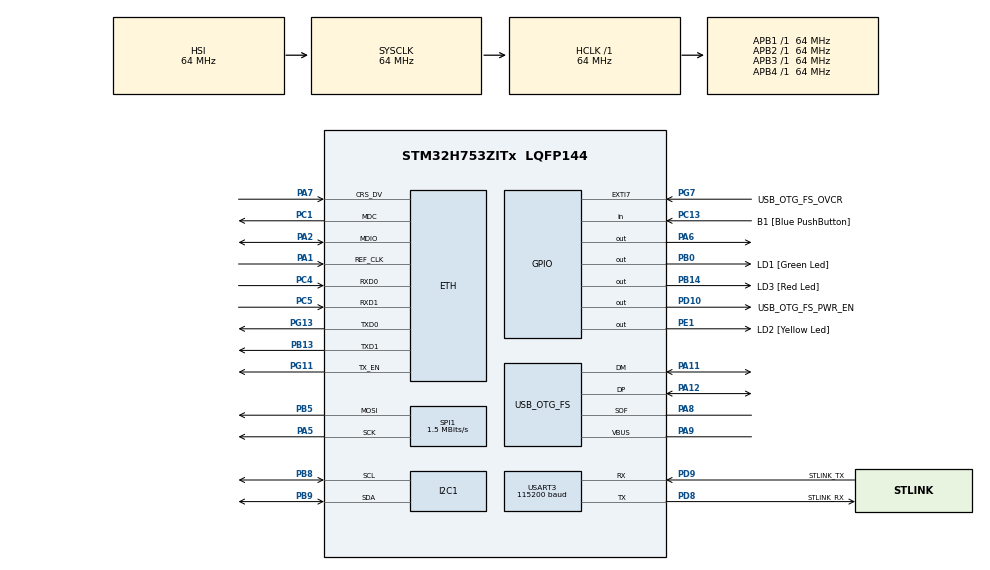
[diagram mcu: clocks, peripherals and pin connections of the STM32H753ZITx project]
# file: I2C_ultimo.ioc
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CORTEX_M7.CPU_DCache=Disabled
CORTEX_M7.CPU_ICache=Disabled
CORTEX_M7.MPU_Control=__NULL
Dma.I2C1_RX.0.Direction=DMA_PERIPH_TO_MEMORY
Dma.I2C1_RX.0.EventEnable=DISABLE
Dma.I2C1_RX.0.FIFOMode=DMA_FIFOMODE_DISABLE
Dma.I2C1_RX.0.Instance=DMA1_Stream0
Dma.I2C1_RX.0.MemDataAlignment=DMA_MDATAALIGN_BYTE
Dma.I2C1_RX.0.MemInc=DMA_MINC_ENABLE
Dma.I2C1_RX.0.Mode=DMA_NORMAL
Dma.I2C1_RX.0.PeriphDataAlignment=DMA_PDATAALIGN_BYTE
Dma.I2C1_RX.0.PeriphInc=DMA_PINC_DISABLE
Dma.I2C1_RX.0.Polarity=HAL_DMAMUX_REQ_GEN_RISING
Dma.I2C1_RX.0.Priority=DMA_PRIORITY_LOW
Dma.I2C1_RX.0.RequestNumber=1
Dma.I2C1_RX.0.SignalID=NONE
Dma.I2C1_RX.0.SyncEnable=DISABLE
Dma.I2C1_RX.0.SyncPolarity=HAL_DMAMUX_SYNC_NO_EVENT
Dma.I2C1_RX.0.SyncRequestNumber=1
Dma.I2C1_RX.0.SyncSignalID=NONE
Dma.I2C1_TX.1.Direction=DMA_MEMORY_TO_PERIPH
Dma.I2C1_TX.1.EventEnable=DISABLE
Dma.I2C1_TX.1.FIFOMode=DMA_FIFOMODE_DISABLE
Dma.I2C1_TX.1.Instance=DMA1_Stream1
Dma.I2C1_TX.1.MemDataAlignment=DMA_MDATAALIGN_BYTE
Dma.I2C1_TX.1.MemInc=DMA_MINC_ENABLE
Dma.I2C1_TX.1.Mode=DMA_NORMAL
Dma.I2C1_TX.1.PeriphDataAlignment=DMA_PDATAALIGN_BYTE
Dma.I2C1_TX.1.PeriphInc=DMA_PINC_DISABLE
Dma.I2C1_TX.1.Polarity=HAL_DMAMUX_REQ_GEN_RISING
Dma.I2C1_TX.1.Priority=DMA_PRIORITY_LOW
Dma.I2C1_TX.1.RequestNumber=1
Dma.I2C1_TX.1.SignalID=NONE
Dma.I2C1_TX.1.SyncEnable=DISABLE
Dma.I2C1_TX.1.SyncPolarity=HAL_DMAMUX_SYNC_NO_EVENT
Dma.I2C1_TX.1.SyncRequestNumber=1
Dma.I2C1_TX.1.SyncSignalID=NONE
Dma.Request0=I2C1_RX
Dma.Request1=I2C1_TX
Dma.Request2=SPI1_TX
Dma.SPI1_TX.2.Direction=DMA_MEMORY_TO_PERIPH
Dma.SPI1_TX.2.EventEnable=DISABLE
Dma.SPI1_TX.2.FIFOMode=DMA_FIFOMODE_DISABLE
Dma.SPI1_TX.2.Instance=DMA1_Stream2
Dma.SPI1_TX.2.MemDataAlignment=DMA_MDATAALIGN_BYTE
Dma.SPI1_TX.2.MemInc=DMA_MINC_ENABLE
Dma.SPI1_TX.2.Mode=DMA_NORMAL
Dma.SPI1_TX.2.PeriphDataAlignment=DMA_PDATAALIGN_BYTE
Dma.SPI1_TX.2.PeriphInc=DMA_PINC_DISABLE
Dma.SPI1_TX.2.Polarity=HAL_DMAMUX_REQ_GEN_RISING
Dma.SPI1_TX.2.Priority=DMA_PRIORITY_LOW
Dma.SPI1_TX.2.RequestNumber=1
Dma.SPI1_TX.2.SignalID=NONE
Dma.SPI1_TX.2.SyncEnable=DISABLE
Dma.SPI1_TX.2.SyncPolarity=HAL_DMAMUX_SYNC_NO_EVENT
Dma.SPI1_TX.2.SyncRequestNumber=1
Dma.SPI1_TX.2.SyncSignalID=NONE
ETH.ETH_RX_DESC_CNT=4
ETH.ETH_TX_DESC_CNT=4
ETH.MACAddr=00\:80\:E1\:00\:00\:00
ETH.MediaInterface=HAL_ETH_RMII_MODE
ETH.RxBuffAddress=0x30040200
ETH.RxBuffLen=1524
ETH.RxDescAddress=0x30040000
ETH.TxDescAddress=0x30040060
Mcu.Family=STM32H7
Mcu.Name=STM32H753ZITx
Mcu.Package=LQFP144
NVIC.DMA1_Stream0_IRQn=true\:0\:0\:false\:false\:true\:false\:true\:true
NVIC.DMA1_Stream1_IRQn=true\:0\:0\:false\:false\:true\:false\:true\:true
NVIC.DMA1_Stream2_IRQn=true\:0\:0\:false\:false\:true\:false\:true\:true
NVIC.EXTI9_5_IRQn=true\:0\:0\:false\:false\:true\:true\:true\:true
NVIC.I2C1_ER_IRQn=true\:0\:0\:false\:false\:true\:true\:true\:true
NVIC.I2C1_EV_IRQn=true\:0\:0\:false\:false\:true\:true\:true\:true
NVIC.PriorityGroup=NVIC_PRIORITYGROUP_4
NVIC.SPI1_IRQn=true\:0\:0\:false\:false\:true\:false\:true\:true
NVIC.USART3_IRQn=true\:0\:0\:false\:false\:true\:true\:true\:true
PA1.Mode=RMII
PA1.Signal=ETH_REF_CLK
PA11.Mode=Device_Only
PA11.Signal=USB_OTG_FS_DM
PA12.Mode=Device_Only
PA12.Signal=USB_OTG_FS_DP
PA2.Mode=RMII
PA2.Signal=ETH_MDIO
PA5.Mode=TX_Only_Simplex_Unidirect_Master
PA5.Signal=SPI1_SCK
PA6.Signal=GPIO_Output
PA7.Mode=RMII
PA7.Signal=ETH_CRS_DV
PA8.Mode=Activate_SOF_FS
PA8.Signal=USB_OTG_FS_SOF
PA9.Mode=Activate_VBUS
PA9.Signal=USB_OTG_FS_VBUS
PB0.GPIO_Label=LD1 [Green Led]
PB0.Signal=GPIO_Output
PB13.Mode=RMII
PB13.Signal=ETH_TXD1
PB14.GPIO_Label=LD3 [Red Led]
PB14.Signal=GPIO_Output
PB5.Mode=TX_Only_Simplex_Unidirect_Master
PB5.Signal=SPI1_MOSI
PB8.GPIO_Pu=GPIO_PULLUP
PB8.GPIO_Speed=GPIO_SPEED_FREQ_VERY_HIGH
PB8.Mode=I2C
PB8.Signal=I2C1_SCL
PB9.GPIO_Pu=GPIO_PULLUP
PB9.GPIO_Speed=GPIO_SPEED_FREQ_VERY_HIGH
PB9.Mode=I2C
PB9.Signal=I2C1_SDA
PC1.Mode=RMII
PC1.Signal=ETH_MDC
PC13.GPIO_Label=B1 [Blue PushButton]
PC13.Signal=GPIO_Input
PC14-OSC32_IN\ (OSC32_IN).Mode=LSE-External-Oscillator
PC14-OSC32_IN\ (OSC32_IN).Signal=RCC_OSC32_IN
PC15-OSC32_OUT\ (OSC32_OUT).Mode=LSE-External-Oscillator
PC15-OSC32_OUT\ (OSC32_OUT).Signal=RCC_OSC32_OUT
PC4.Mode=RMII
PC4.Signal=ETH_RXD0
PC5.Mode=RMII
PC5.Signal=ETH_RXD1
PD10.GPIO_Label=USB_OTG_FS_PWR_EN
PD10.Signal=GPIO_Output
PD8.GPIO_Label=STLINK_RX
PD8.Mode=Asynchronous
PD8.Signal=USART3_TX
PD9.GPIO_Label=STLINK_TX
PD9.Mode=Asynchronous
PD9.Signal=USART3_RX
PE1.GPIO_Label=LD2 [Yellow Led]
PE1.Signal=GPIO_Output
PG11.Mode=RMII
PG11.Signal=ETH_TX_EN
PG13.Mode=RMII
PG13.Signal=ETH_TXD0
PG7.GPIO_Label=USB_OTG_FS_OVCR
PG7.Signal=GPXTI7
PH0-OSC_IN\ (PH0).Mode=HSE-External-Clock-Source
PH0-OSC_IN\ (PH0).Signal=RCC_OSC_IN
PH1-OSC_OUT\ (PH1).Signal=RCC_OSC_OUT
ProjectManager.HeapSize=0x200
ProjectManager.StackSize=0x400
ProjectManager.TargetToolchain=STM32CubeIDE
RCC.ADCFreq_Value=16125000
RCC.APB1Freq_Value=64000000
RCC.APB2Freq_Value=64000000
RCC.APB3Freq_Value=64000000
RCC.APB4Freq_Value=64000000
RCC.CortexFreq_Value=64000000
RCC.DIVM1=1
RCC.DIVN1=24
RCC.DIVQ1=4
RCC.HCLKFreq_Value=64000000
RCC.HSE_VALUE=8000000
RCC.PLLFRACN=0
RCC.PWR_Regulator_Voltage_Scale=PWR_REGULATOR_VOLTAGE_SCALE2
RCC.SYSCLKFreq_VALUE=64000000
RCC.USBFreq_Value=48000000
SPI1.BaudRatePrescaler=SPI_BAUDRATEPRESCALER_32
SPI1.CalculateBaudRate=1.5 MBits/s
SPI1.DataSize=SPI_DATASIZE_8BIT
SPI1.Direction=SPI_DIRECTION_2LINES_TXONLY
SPI1.Mode=SPI_MODE_MASTER
SPI1.VirtualType=VM_MASTER
USART3.AutoBaudRateEnableParam=UART_ADVFEATURE_AUTOBAUDRATE_DISABLE
USART3.BaudRate=115200
USART3.ClockPrescaler=PRESCALER_DIV1
USART3.DMADisableonRxErrorParam=ADVFEATURE_DMA_ENABLEONRXERROR
USART3.DataInvertParam=ADVFEATURE_DATAINV_DISABLE
USART3.FIFOMode=FIFOMODE_DISABLE
USART3.MSBFirstParam=ADVFEATURE_MSBFIRST_DISABLE
USART3.Mode=MODE_TX_RX
USART3.OneBitSampling=UART_ONE_BIT_SAMPLE_DISABLE
USART3.OverSampling=UART_OVERSAMPLING_16
USART3.OverrunDisableParam=ADVFEATURE_OVERRUN_ENABLE
USART3.Parity=PARITY_NONE
USART3.RXFIFOThreshold=RXFIFO_THRESHOLD_1EIGHTHFULL
USART3.RxPinLevelInvertParam=ADVFEATURE_RXINV_DISABLE
USART3.StopBits=STOPBITS_1
USART3.SwapParam=ADVFEATURE_SWAP_DISABLE
USART3.TXFIFOThreshold=TXFIFO_THRESHOLD_1EIGHTHFULL
USART3.TxPinLevelInvertParam=ADVFEATURE_TXINV_DISABLE
USART3.VirtualMode-Asynchronous=VM_ASYNC
USART3.WordLength=WORDLENGTH_8B
USB_OTG_FS.Sof_enable=ENABLE
USB_OTG_FS.VirtualMode=Device_Only
USB_OTG_FS.battery_charging_enable=ENABLE
USB_OTG_FS.low_power_enable=DISABLE
USB_OTG_FS.lpm_enable=DISABLE
USB_OTG_FS.use_dedicated_ep1=DISABLE
USB_OTG_FS.vbus_sensing_enable=ENABLE
VP_MEMORYMAP_VS_MEMORYMAP.Mode=CurAppReg
board=NUCLEO-H753ZI

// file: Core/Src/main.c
/* USER CODE BEGIN Header */
/**
  ******************************************************************************
  * @file           : main.c
  * @brief          : Main program body
  ******************************************************************************
  * @attention
  *
  * Copyright (c) 2024 STMicroelectronics.
  * All rights reserved.
  *
  * This software is licensed under terms that can be found in the LICENSE file
  * in the root directory of this software component.
  * If no LICENSE file comes with this software, it is provided AS-IS.
  *
  ******************************************************************************
  */
/* USER CODE END Header */
#include "main.h"
#include "string.h"

/* USER CODE BEGIN PD */
#define PCF8591_ADDRESS 0x48 << 1
#define MAX7219_REG_NOOP 0x00
#define MAX7219_REG_DIGIT0 0x01
#define MAX7219_REG_DIGIT1 0x02
#define MAX7219_REG_DIGIT2 0x03
#define MAX7219_REG_DIGIT3 0x04
#define MAX7219_REG_DIGIT4 0x05
#define MAX7219_REG_DIGIT5 0x06
#define MAX7219_REG_DIGIT6 0x07
#define MAX7219_REG_DIGIT7 0x08
#define MAX7219_REG_DECODEMODE 0x09
#define MAX7219_REG_INTENSITY 0x0A
#define MAX7219_REG_SCANLIMIT 0x0B
#define MAX7219_REG_SHUTDOWN 0x0C
#define MAX7219_REG_DISPLAYTEST 0x0F

#define RX_BUFFER_SIZE 100

/* USER CODE END PD */

#if defined ( __ICCARM__ ) /*!< IAR Compiler */
#pragma location=0x30040000
ETH_DMADescTypeDef  DMARxDscrTab[ETH_RX_DESC_CNT]; /* Ethernet Rx DMA Descriptors */
#pragma location=0x30040060
ETH_DMADescTypeDef  DMATxDscrTab[ETH_TX_DESC_CNT]; /* Ethernet Tx DMA Descriptors */

#elif defined ( __CC_ARM )  /* MDK ARM Compiler */

__attribute__((at(0x30040000))) ETH_DMADescTypeDef  DMARxDscrTab[ETH_RX_DESC_CNT]; /* Ethernet Rx DMA Descriptors */
__attribute__((at(0x30040060))) ETH_DMADescTypeDef  DMATxDscrTab[ETH_TX_DESC_CNT]; /* Ethernet Tx DMA Descriptors */

#elif defined ( __GNUC__ ) /* GNU Compiler */

ETH_DMADescTypeDef DMARxDscrTab[ETH_RX_DESC_CNT] __attribute__((section(".RxDecripSection"))); /* Ethernet Rx DMA Descriptors */
ETH_DMADescTypeDef DMATxDscrTab[ETH_TX_DESC_CNT] __attribute__((section(".TxDecripSection")));   /* Ethernet Tx DMA Descriptors */
#endif

ETH_TxPacketConfig TxConfig;

ETH_HandleTypeDef heth;

I2C_HandleTypeDef hi2c1;
DMA_HandleTypeDef hdma_i2c1_rx;
DMA_HandleTypeDef hdma_i2c1_tx;

SPI_HandleTypeDef hspi1;
DMA_HandleTypeDef hdma_spi1_tx;

UART_HandleTypeDef huart3;

PCD_HandleTypeDef hpcd_USB_OTG_FS;

/* USER CODE BEGIN PV */
uint8_t uart_rx_char;
uint8_t uart_rx_buffer[RX_BUFFER_SIZE];
uint16_t uart_rx_index = 0;
char uart_tx_buffer[100]; // para mensagens de retorno

char ain0[] = "Read_AIN0";
char ain1[] = "Read_AIN1";
char ain3[] = "Read_AIN3";

uint8_t i2c_tx_buffer[2];
uint8_t i2c_rx_buffer[2];

volatile uint8_t uart_data_received = 0;
volatile uint8_t adc_channel_requested = 0;
volatile uint8_t adc_read_requested = 0;
volatile uint8_t flag_tx_rx = 0;
volatile uint8_t i2c_tx_done = 0; //flags de controle
volatile uint8_t i2c_rx_done = 0;
volatile uint8_t dac_flag_request = 0;

/* USER CODE END PV */

void SystemClock_Config(void);
static void MX_GPIO_Init(void);
static void MX_DMA_Init(void);
static void MX_ETH_Init(void);
static void MX_USART3_UART_Init(void);
static void MX_USB_OTG_FS_PCD_Init(void);
static void MX_I2C1_Init(void);
static void MX_SPI1_Init(void);
/* USER CODE BEGIN PFP */
const uint8_t ascii_font[5][8] = {
		{0x00,0x08,0x14,0x22,0x22,0x22,0x22,0x00},/*V*/
		{0x00,0x08,0x08,0x08,0x08,0x08,0x3E,0x00},/*T*/
		{0x00,0x3C,0x04,0x04,0x04,0x04,0x04,0x00},/*L*/
		{0x00,0x08,0x08,0x3E,0x08,0x08,0x00,0x00}, /* + */
		{0x00,0x00,0x00,0x3E,0x00,0x00,0x00,0x00}  /* - */
};

const uint8_t Init_Commands[5][2]={
		{0x09,0x00},
		{0x0A,0x00},
		{0x0B,0x07},
		{0x0C,0x01},
		{0x0F,0x00}
};

uint8_t shutDown[2];

uint8_t PCF8591_ReadAnalog(uint8_t channel);
/* USER CODE END PFP */

/* USER CODE BEGIN 0 */
void ProcessCommand(const char *command);
void Read_ADC_Channel(uint8_t channel);
void Set_DAC_Value(uint8_t value);
void MAX7219_SendData(uint8_t reg, uint8_t data);
void DisplayCharacter(uint8_t character);
void MAX7219_Init(void);

void HAL_UART_RxCpltCallback(UART_HandleTypeDef *huart)
{
    if (huart->Instance == USART3)
    {
        if (uart_rx_char == '\r' || uart_rx_char == '\n')
        {
            uart_rx_buffer[uart_rx_index] = '\0'; // Termina string
            ProcessCommand(uart_rx_buffer);       // Processa
            uart_rx_index = 0;                    // Reinicia índice
        }
        else
        {
            if (uart_rx_index < RX_BUFFER_SIZE - 1)
            {
                uart_rx_buffer[uart_rx_index++] = uart_rx_char;
            }
        }

        HAL_UART_Receive_IT(&huart3, &uart_rx_char, 1); // Continua recepção
    }
}
void ProcessCommand(const char *command)
{
    // Remove \r ou \n do final da string, se existirem
    char *newline = strpbrk(command, "\r\n");

    sprintf(uart_tx_buffer, "Recebido: [%s]\r\n", command);
        HAL_UART_Transmit(&huart3, (uint8_t *)uart_tx_buffer, strlen(uart_tx_buffer), HAL_MAX_DELAY);

    if (strcmp(command, "Read_AIN0") == 0)
    {
        adc_channel_requested = 0;
        adc_read_requested = 1;
    }
    else if (strcmp(command, "Read_AIN1") == 0)
    {
        adc_channel_requested = 1;
        adc_read_requested = 1;
    }
    else if (strcmp(command, "Read_AIN3") == 0)
    {
        adc_channel_requested = 3;
        adc_read_requested = 1;
    }
    else if (strncmp(command, "Set_DAC_", 8) == 0)
    {
        uint8_t value = (uint8_t)atoi(&command[8]);
        adc_channel_requested = value;
        dac_flag_request = 1;
    }
    else
    {
        sprintf(uart_tx_buffer, "Comando invalido!\r\n");
        HAL_UART_Transmit(&huart3, (uint8_t *)uart_tx_buffer, strlen(uart_tx_buffer), HAL_MAX_DELAY);
    }
}

void Set_DAC_Value(uint8_t value)
{
    i2c_tx_buffer[0] = 0x40; // Habilita DAC
    i2c_tx_buffer[1] = value;

    HAL_I2C_Master_Transmit_DMA(&hi2c1, PCF8591_ADDRESS, i2c_tx_buffer, 2);

    HAL_Delay(1000);

    HAL_I2C_Master_Receive_DMA(&hi2c1, PCF8591_ADDRESS, i2c_rx_buffer, 2);

    flag_tx_rx = HAL_I2C_GetState(&hi2c1);
    while (flag_tx_rx != HAL_I2C_STATE_READY);

    sprintf(uart_tx_buffer, "DAC = %d\r\n", i2c_rx_buffer[1]);
    HAL_UART_Transmit(&huart3, (uint8_t *)uart_tx_buffer, strlen(uart_tx_buffer), HAL_MAX_DELAY);
}
/* USER CODE END 0 */

int main(void)
{

  /* MCU Configuration--------------------------------------------------------*/

  /* Reset of all peripherals, Initializes the Flash interface and the Systick. */
  HAL_Init();

  /* Configure the system clock */
  SystemClock_Config();

  /* Initialize all configured peripherals */
  MX_GPIO_Init();
  MX_DMA_Init();
  MX_ETH_Init();
  MX_USART3_UART_Init();
  MX_USB_OTG_FS_PCD_Init();
  MX_I2C1_Init();
  MX_SPI1_Init();
  /* USER CODE BEGIN 2 */
  	/*void MAX72_Init_F(void)
  	{
  		uint8_t i=0;
  		for(i=0;i<5;i++)
  		{
  			shutDown[0]=Init_Commands[i][0];
  			shutDown[1]=Init_Commands[i][1];
  			HAL_GPIO_WritePin(GPIOA, GPIO_PIN_6, GPIO_PIN_RESET);
  			HAL_SPI_Transmit_IT(&hspi1,shutDown,2);
  			HAL_Delay(10);
  			HAL_GPIO_WritePin(GPIOA,GPIO_PIN_6, GPIO_PIN_SET);
  			HAL_Delay(10);
  			HAL_GPIO_WritePin(GPIOA,GPIO_PIN_6, GPIO_PIN_RESET);
  			HAL_Delay(10);
  		}
  	}

  	MAX72_Init_F();*/

  MAX7219_Init();

  HAL_UART_Receive_IT(&huart3, &uart_rx_char, 1);
  /* USER CODE END 2 */

  /* Infinite loop */
  /* USER CODE BEGIN WHILE */
  while (1)
  {
		if (adc_read_requested)
		{
			adc_read_requested = 0; // limpa flag
			Read_ADC_Channel(adc_channel_requested);
		}

	    if(dac_flag_request){
	    	dac_flag_request = 0; // limpa flag
			Set_DAC_Value(adc_channel_requested);
	    }

	  if (uart_data_received)
	  {
		  //ProcessCommand((char *)rx_buffer);
		  uart_data_received = 0;
	  }
    /* USER CODE END WHILE */

  }
}

void SystemClock_Config(void)
{
  RCC_OscInitTypeDef RCC_OscInitStruct = {0};
  RCC_ClkInitTypeDef RCC_ClkInitStruct = {0};

  /** Supply configuration update enable
  */
  HAL_PWREx_ConfigSupply(PWR_LDO_SUPPLY);

  /** Configure the main internal regulator output voltage
  */
  __HAL_PWR_VOLTAGESCALING_CONFIG(PWR_REGULATOR_VOLTAGE_SCALE2);

  while(!__HAL_PWR_GET_FLAG(PWR_FLAG_VOSRDY)) {}

  /** Initializes the RCC Oscillators according to the specified parameters
  * in the RCC_OscInitTypeDef structure.
  */
  RCC_OscInitStruct.OscillatorType = RCC_OSCILLATORTYPE_HSI|RCC_OSCILLATORTYPE_HSE;
  RCC_OscInitStruct.HSEState = RCC_HSE_BYPASS;
  RCC_OscInitStruct.HSIState = RCC_HSI_DIV1;
  RCC_OscInitStruct.HSICalibrationValue = RCC_HSICALIBRATION_DEFAULT;
  RCC_OscInitStruct.PLL.PLLState = RCC_PLL_ON;
  RCC_OscInitStruct.PLL.PLLSource = RCC_PLLSOURCE_HSE;
  RCC_OscInitStruct.PLL.PLLM = 1;
  RCC_OscInitStruct.PLL.PLLN = 24;
  RCC_OscInitStruct.PLL.PLLP = 2;
  RCC_OscInitStruct.PLL.PLLQ = 4;
  RCC_OscInitStruct.PLL.PLLR = 2;
  RCC_OscInitStruct.PLL.PLLRGE = RCC_PLL1VCIRANGE_3;
  RCC_OscInitStruct.PLL.PLLVCOSEL = RCC_PLL1VCOWIDE;
  RCC_OscInitStruct.PLL.PLLFRACN = 0;
  if (HAL_RCC_OscConfig(&RCC_OscInitStruct) != HAL_OK)
  {
    Error_Handler();
  }

  /** Initializes the CPU, AHB and APB buses clocks
  */
  RCC_ClkInitStruct.ClockType = RCC_CLOCKTYPE_HCLK|RCC_CLOCKTYPE_SYSCLK
                              |RCC_CLOCKTYPE_PCLK1|RCC_CLOCKTYPE_PCLK2
                              |RCC_CLOCKTYPE_D3PCLK1|RCC_CLOCKTYPE_D1PCLK1;
  RCC_ClkInitStruct.SYSCLKSource = RCC_SYSCLKSOURCE_HSI;
  RCC_ClkInitStruct.SYSCLKDivider = RCC_SYSCLK_DIV1;
  RCC_ClkInitStruct.AHBCLKDivider = RCC_HCLK_DIV1;
  RCC_ClkInitStruct.APB3CLKDivider = RCC_APB3_DIV1;
  RCC_ClkInitStruct.APB1CLKDivider = RCC_APB1_DIV1;
  RCC_ClkInitStruct.APB2CLKDivider = RCC_APB2_DIV1;
  RCC_ClkInitStruct.APB4CLKDivider = RCC_APB4_DIV1;

  if (HAL_RCC_ClockConfig(&RCC_ClkInitStruct, FLASH_LATENCY_1) != HAL_OK)
  {
    Error_Handler();
  }
}

static void MX_ETH_Init(void)
{

   static uint8_t MACAddr[6];

  heth.Instance = ETH;
  MACAddr[0] = 0x00;
  MACAddr[1] = 0x80;
  MACAddr[2] = 0xE1;
  MACAddr[3] = 0x00;
  MACAddr[4] = 0x00;
  MACAddr[5] = 0x00;
  heth.Init.MACAddr = &MACAddr[0];
  heth.Init.MediaInterface = HAL_ETH_RMII_MODE;
  heth.Init.TxDesc = DMATxDscrTab;
  heth.Init.RxDesc = DMARxDscrTab;
  heth.Init.RxBuffLen = 1524;

  if (HAL_ETH_Init(&heth) != HAL_OK)
  {
    Error_Handler();
  }

  memset(&TxConfig, 0 , sizeof(ETH_TxPacketConfig));
  TxConfig.Attributes = ETH_TX_PACKETS_FEATURES_CSUM | ETH_TX_PACKETS_FEATURES_CRCPAD;
  TxConfig.ChecksumCtrl = ETH_CHECKSUM_IPHDR_PAYLOAD_INSERT_PHDR_CALC;
  TxConfig.CRCPadCtrl = ETH_CRC_PAD_INSERT;

}

static void MX_I2C1_Init(void)
{

  hi2c1.Instance = I2C1;
  hi2c1.Init.Timing = 0x10707DBC;
  hi2c1.Init.OwnAddress1 = 0;
  hi2c1.Init.AddressingMode = I2C_ADDRESSINGMODE_7BIT;
  hi2c1.Init.DualAddressMode = I2C_DUALADDRESS_DISABLE;
  hi2c1.Init.OwnAddress2 = 0;
  hi2c1.Init.OwnAddress2Masks = I2C_OA2_NOMASK;
  hi2c1.Init.GeneralCallMode = I2C_GENERALCALL_DISABLE;
  hi2c1.Init.NoStretchMode = I2C_NOSTRETCH_DISABLE;
  if (HAL_I2C_Init(&hi2c1) != HAL_OK)
  {
    Error_Handler();
  }

  /** Configure Analogue filter
  */
  if (HAL_I2CEx_ConfigAnalogFilter(&hi2c1, I2C_ANALOGFILTER_ENABLE) != HAL_OK)
  {
    Error_Handler();
  }

  /** Configure Digital filter
  */
  if (HAL_I2CEx_ConfigDigitalFilter(&hi2c1, 0) != HAL_OK)
  {
    Error_Handler();
  }

}

static void MX_SPI1_Init(void)
{

  /* SPI1 parameter configuration*/
  hspi1.Instance = SPI1;
  hspi1.Init.Mode = SPI_MODE_MASTER;
  hspi1.Init.Direction = SPI_DIRECTION_2LINES_TXONLY;
  hspi1.Init.DataSize = SPI_DATASIZE_8BIT;
  hspi1.Init.CLKPolarity = SPI_POLARITY_LOW;
  hspi1.Init.CLKPhase = SPI_PHASE_1EDGE;
  hspi1.Init.NSS = SPI_NSS_SOFT;
  hspi1.Init.BaudRatePrescaler = SPI_BAUDRATEPRESCALER_32;
  hspi1.Init.FirstBit = SPI_FIRSTBIT_MSB;
  hspi1.Init.TIMode = SPI_TIMODE_DISABLE;
  hspi1.Init.CRCCalculation = SPI_CRCCALCULATION_DISABLE;
  hspi1.Init.CRCPolynomial = 0x0;
  hspi1.Init.NSSPMode = SPI_NSS_PULSE_ENABLE;
  hspi1.Init.NSSPolarity = SPI_NSS_POLARITY_LOW;
  hspi1.Init.FifoThreshold = SPI_FIFO_THRESHOLD_01DATA;
  hspi1.Init.TxCRCInitializationPattern = SPI_CRC_INITIALIZATION_ALL_ZERO_PATTERN;
  hspi1.Init.RxCRCInitializationPattern = SPI_CRC_INITIALIZATION_ALL_ZERO_PATTERN;
  hspi1.Init.MasterSSIdleness = SPI_MASTER_SS_IDLENESS_00CYCLE;
  hspi1.Init.MasterInterDataIdleness = SPI_MASTER_INTERDATA_IDLENESS_00CYCLE;
  hspi1.Init.MasterReceiverAutoSusp = SPI_MASTER_RX_AUTOSUSP_DISABLE;
  hspi1.Init.MasterKeepIOState = SPI_MASTER_KEEP_IO_STATE_DISABLE;
  hspi1.Init.IOSwap = SPI_IO_SWAP_DISABLE;
  if (HAL_SPI_Init(&hspi1) != HAL_OK)
  {
    Error_Handler();
  }

}

static void MX_USART3_UART_Init(void)
{

  huart3.Instance = USART3;
  huart3.Init.BaudRate = 115200;
  huart3.Init.WordLength = UART_WORDLENGTH_8B;
  huart3.Init.StopBits = UART_STOPBITS_1;
  huart3.Init.Parity = UART_PARITY_NONE;
  huart3.Init.Mode = UART_MODE_TX_RX;
  huart3.Init.HwFlowCtl = UART_HWCONTROL_NONE;
  huart3.Init.OverSampling = UART_OVERSAMPLING_16;
  huart3.Init.OneBitSampling = UART_ONE_BIT_SAMPLE_DISABLE;
  huart3.Init.ClockPrescaler = UART_PRESCALER_DIV1;
  huart3.AdvancedInit.AdvFeatureInit = UART_ADVFEATURE_NO_INIT;
  if (HAL_UART_Init(&huart3) != HAL_OK)
  {
    Error_Handler();
  }
  if (HAL_UARTEx_SetTxFifoThreshold(&huart3, UART_TXFIFO_THRESHOLD_1_8) != HAL_OK)
  {
    Error_Handler();
  }
  if (HAL_UARTEx_SetRxFifoThreshold(&huart3, UART_RXFIFO_THRESHOLD_1_8) != HAL_OK)
  {
    Error_Handler();
  }
  if (HAL_UARTEx_DisableFifoMode(&huart3) != HAL_OK)
  {
    Error_Handler();
  }
  /* USER CODE BEGIN USART3_Init 2 */
  HAL_UART_Receive_IT(&huart3, &uart_rx_char, 1);
  /* USER CODE END USART3_Init 2 */

}

static void MX_USB_OTG_FS_PCD_Init(void)
{

  hpcd_USB_OTG_FS.Instance = USB_OTG_FS;
  hpcd_USB_OTG_FS.Init.dev_endpoints = 9;
  hpcd_USB_OTG_FS.Init.speed = PCD_SPEED_FULL;
  hpcd_USB_OTG_FS.Init.dma_enable = DISABLE;
  hpcd_USB_OTG_FS.Init.phy_itface = PCD_PHY_EMBEDDED;
  hpcd_USB_OTG_FS.Init.Sof_enable = ENABLE;
  hpcd_USB_OTG_FS.Init.low_power_enable = DISABLE;
  hpcd_USB_OTG_FS.Init.lpm_enable = DISABLE;
  hpcd_USB_OTG_FS.Init.battery_charging_enable = ENABLE;
  hpcd_USB_OTG_FS.Init.vbus_sensing_enable = ENABLE;
  hpcd_USB_OTG_FS.Init.use_dedicated_ep1 = DISABLE;
  if (HAL_PCD_Init(&hpcd_USB_OTG_FS) != HAL_OK)
  {
    Error_Handler();
  }

}

static void MX_DMA_Init(void)
{

  /* DMA controller clock enable */
  __HAL_RCC_DMA1_CLK_ENABLE();

  /* DMA interrupt init */
  /* DMA1_Stream0_IRQn interrupt configuration */
  HAL_NVIC_SetPriority(DMA1_Stream0_IRQn, 0, 0);
  HAL_NVIC_EnableIRQ(DMA1_Stream0_IRQn);
  /* DMA1_Stream1_IRQn interrupt configuration */
  HAL_NVIC_SetPriority(DMA1_Stream1_IRQn, 0, 0);
  HAL_NVIC_EnableIRQ(DMA1_Stream1_IRQn);
  /* DMA1_Stream2_IRQn interrupt configuration */
  HAL_NVIC_SetPriority(DMA1_Stream2_IRQn, 0, 0);
  HAL_NVIC_EnableIRQ(DMA1_Stream2_IRQn);

}

static void MX_GPIO_Init(void)
{
  GPIO_InitTypeDef GPIO_InitStruct = {0};

  /* GPIO Ports Clock Enable */
  __HAL_RCC_GPIOC_CLK_ENABLE();
  __HAL_RCC_GPIOH_CLK_ENABLE();
  __HAL_RCC_GPIOA_CLK_ENABLE();
  __HAL_RCC_GPIOB_CLK_ENABLE();
  __HAL_RCC_GPIOD_CLK_ENABLE();
  __HAL_RCC_GPIOG_CLK_ENABLE();
  __HAL_RCC_GPIOE_CLK_ENABLE();

  /*Configure GPIO pin Output Level */
  HAL_GPIO_WritePin(GPIOA, GPIO_PIN_6, GPIO_PIN_RESET);

  /*Configure GPIO pin Output Level */
  HAL_GPIO_WritePin(GPIOB, LD1_Pin|LD3_Pin, GPIO_PIN_RESET);

  /*Configure GPIO pin Output Level */
  HAL_GPIO_WritePin(USB_OTG_FS_PWR_EN_GPIO_Port, USB_OTG_FS_PWR_EN_Pin, GPIO_PIN_RESET);

  /*Configure GPIO pin Output Level */
  HAL_GPIO_WritePin(LD2_GPIO_Port, LD2_Pin, GPIO_PIN_RESET);

  /*Configure GPIO pin : B1_Pin */
  GPIO_InitStruct.Pin = B1_Pin;
  GPIO_InitStruct.Mode = GPIO_MODE_INPUT;
  GPIO_InitStruct.Pull = GPIO_NOPULL;
  HAL_GPIO_Init(B1_GPIO_Port, &GPIO_InitStruct);

  /*Configure GPIO pin : PA6 */
  GPIO_InitStruct.Pin = GPIO_PIN_6;
  GPIO_InitStruct.Mode = GPIO_MODE_OUTPUT_PP;
  GPIO_InitStruct.Pull = GPIO_NOPULL;
  GPIO_InitStruct.Speed = GPIO_SPEED_FREQ_LOW;
  HAL_GPIO_Init(GPIOA, &GPIO_InitStruct);

  /*Configure GPIO pins : LD1_Pin LD3_Pin */
  GPIO_InitStruct.Pin = LD1_Pin|LD3_Pin;
  GPIO_InitStruct.Mode = GPIO_MODE_OUTPUT_PP;
  GPIO_InitStruct.Pull = GPIO_NOPULL;
  GPIO_InitStruct.Speed = GPIO_SPEED_FREQ_LOW;
  HAL_GPIO_Init(GPIOB, &GPIO_InitStruct);

  /*Configure GPIO pin : USB_OTG_FS_PWR_EN_Pin */
  GPIO_InitStruct.Pin = USB_OTG_FS_PWR_EN_Pin;
  GPIO_InitStruct.Mode = GPIO_MODE_OUTPUT_PP;
  GPIO_InitStruct.Pull = GPIO_NOPULL;
  GPIO_InitStruct.Speed = GPIO_SPEED_FREQ_LOW;
  HAL_GPIO_Init(USB_OTG_FS_PWR_EN_GPIO_Port, &GPIO_InitStruct);

  /*Configure GPIO pin : USB_OTG_FS_OVCR_Pin */
  GPIO_InitStruct.Pin = USB_OTG_FS_OVCR_Pin;
  GPIO_InitStruct.Mode = GPIO_MODE_IT_RISING;
  GPIO_InitStruct.Pull = GPIO_NOPULL;
  HAL_GPIO_Init(USB_OTG_FS_OVCR_GPIO_Port, &GPIO_InitStruct);

  /*Configure GPIO pin : LD2_Pin */
  GPIO_InitStruct.Pin = LD2_Pin;
  GPIO_InitStruct.Mode = GPIO_MODE_OUTPUT_PP;
  GPIO_InitStruct.Pull = GPIO_NOPULL;
  GPIO_InitStruct.Speed = GPIO_SPEED_FREQ_LOW;
  HAL_GPIO_Init(LD2_GPIO_Port, &GPIO_InitStruct);

  /* EXTI interrupt init*/
  HAL_NVIC_SetPriority(EXTI9_5_IRQn, 0, 0);
  HAL_NVIC_EnableIRQ(EXTI9_5_IRQn);

}

/* USER CODE BEGIN 4 */

void HAL_I2C_MasterTxCpltCallback(I2C_HandleTypeDef *hi2c) {
    if (hi2c->Instance == I2C1) {
        i2c_tx_done = 1;
    }
}

void HAL_I2C_MasterRxCpltCallback(I2C_HandleTypeDef *hi2c) {
    if (hi2c->Instance == I2C1) {
        i2c_rx_done = 1;
    }
}

void Read_ADC_Channel(uint8_t channel)
{
    uint8_t control_byte = 0x40 | (channel & 0x03); // Modo single-ended
    i2c_tx_buffer[0] = control_byte;

    i2c_tx_done = 0;
    flag_tx_rx = HAL_I2C_Master_Transmit_DMA(&hi2c1, PCF8591_ADDRESS, i2c_tx_buffer, 1);
    while (flag_tx_rx != HAL_OK); // Espera transmissão

    HAL_Delay(1000); // Delay mínimo após envio do controle

    i2c_rx_done = 0;
    flag_tx_rx = HAL_I2C_Master_Receive_DMA(&hi2c1, PCF8591_ADDRESS, i2c_rx_buffer, 1);
    while (flag_tx_rx != HAL_OK); // Espera recepção

    uint8_t adc_value = i2c_rx_buffer[0]; // Segundo byte é o valor válido
	for(int i = 0; i<9; i++){
		if(channel == 0) {
		  DisplayCharacter(' ' +1);
		  HAL_Delay(500);
		  if(adc_value>=128){
			  DisplayCharacter(' ' +3);
			  HAL_Delay(400);
		  }else{
			  DisplayCharacter(' ' +4);
			  HAL_Delay(400);
		  }

		} else if(channel == 1){
		  DisplayCharacter(' ' +0);
		  HAL_Delay(500);
		  if(adc_value>=128){
			DisplayCharacter(' ' +3);
			HAL_Delay(400);
		  }else{
			DisplayCharacter(' ' +4);
			HAL_Delay(400);
		  }

		} else{
			DisplayCharacter(' ' +2);
			HAL_Delay(500);
			if(adc_value>=128){
				DisplayCharacter(' ' +3);
				HAL_Delay(400);
			 }else{
				DisplayCharacter(' ' +4);
				HAL_Delay(400);
			 }

		}
	}
    sprintf(uart_tx_buffer, "AIN%d: %d\r\n", channel, adc_value);
    HAL_UART_Transmit(&huart3, (uint8_t *)uart_tx_buffer, strlen(uart_tx_buffer), HAL_MAX_DELAY);
}

void MAX7219_SendData(uint8_t reg, uint8_t data) {
	uint8_t txData[2] = {reg, data};
	HAL_GPIO_WritePin(GPIOA, GPIO_PIN_6, GPIO_PIN_RESET); // Pull CS low
	HAL_Delay(10);
	HAL_SPI_Transmit_IT(&hspi1, txData, 2); // Transmit register and data
	HAL_Delay(10);
	HAL_GPIO_WritePin(GPIOA, GPIO_PIN_6, GPIO_PIN_SET); // Pull CS high
	HAL_Delay(10);
}

void DisplayCharacter(uint8_t character) {
	uint8_t charIndex = character - 32; // ASCII offset
	for (int i = 0; i < 8; i++) {
		MAX7219_SendData(MAX7219_REG_DIGIT0 + i, ascii_font[charIndex][i]);
	}
}

void MAX7219_Init(void) {
      // Shutdown mode off (start operation)
      MAX7219_SendData(MAX7219_REG_SHUTDOWN, 0x01);

      // Disable decode mode (use bit patterns to control the LEDs)
      MAX7219_SendData(MAX7219_REG_DECODEMODE, 0x00);

      // Set scan limit (all 8 digits)
      MAX7219_SendData(MAX7219_REG_SCANLIMIT, 0x07);

      // Set brightness to medium
      //MAX7219_SendData(MAX7219_REG_INTENSITY, 0x08);
      // Set brightness to low
      MAX7219_SendData(MAX7219_REG_INTENSITY, 0x03);

      // Clear display
      for (int i = 0; i < 8; i++) {
          MAX7219_SendData(MAX7219_REG_DIGIT0 + i, 0x00);
      }
  }

/* USER CODE END 4 */

void Error_Handler(void)
{
  __disable_irq();
  while (1)
  {
  }
}
